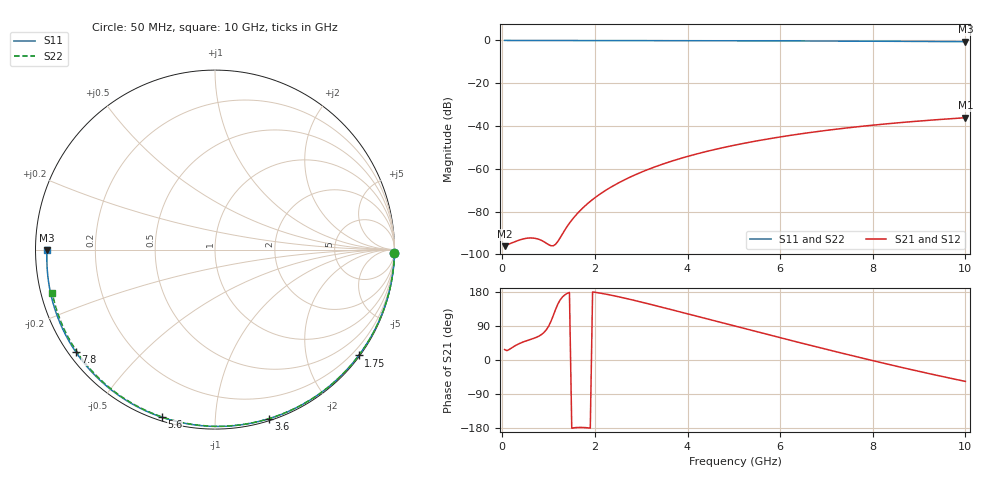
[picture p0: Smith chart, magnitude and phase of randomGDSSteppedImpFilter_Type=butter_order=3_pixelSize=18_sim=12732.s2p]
! freq	dB(S11)	phase(S11)	dB(S12)	phase(S12)
!  dB(S21)	phase(S21)	dB(S22)	phase(S22)
!S-par simulation data
#  GHz  S  DB  R 50
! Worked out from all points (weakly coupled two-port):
!   200 points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, 50 MHz to 10 GHz, reference 50 ohm
!   highest |S21| = -36.12 dB at 10 GHz (marker M1); lowest = -96.2 dB at 50 MHz (marker M2)
!   lowest |S11| = -0.6 dB at 10 GHz (marker M3), VSWR 30.14, Z = 1.66 - j0.108 ohm
!   |S11| at or under -10 dB: nowhere
!   |S22| runs from -0.6 to 0.0 dB; largest |S21 - S12| = 0
!   S11 on the Smith chart (normalised r, x): 50 MHz: open; 1.75 GHz: 0.03, -3.04; 3.6 GHz: 0.02, -1.37; 5.6 GHz: 0.02, -0.73; 7.8 GHz: 0.02, -0.33; 10 GHz: 0.03, -0.00
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0.05  -0.00 -1.1  -96.19 27.5  -96.19 27.5  -0.00 -1.0
0.4  -0.01 -8.5  -93.11 45.1  -93.11 45.1  -0.01 -7.7
0.8  -0.02 -16.8  -93.06 63.7  -93.06 63.7  -0.02 -15.2
1.2  -0.03 -25.1  -93.96 147.6  -93.96 147.6  -0.03 -22.8
1.65  -0.04 -34.3  -80.24 -177.9  -80.24 -177.9  -0.04 -31.1
1.75  -0.05 -36.4  -78.08 -178.1  -78.08 -178.1  -0.04 -33.0
2.05  -0.05 -42.4  -72.75 177.8  -72.75 177.8  -0.05 -38.5
2.25  -0.06 -46.4  -69.85 173.5  -69.85 173.5  -0.05 -42.1
2.45  -0.06 -50.3  -67.31 168.5  -67.31 168.5  -0.06 -45.7
2.9  -0.08 -59.1  -62.53 155.9  -62.53 155.9  -0.07 -53.7
3.4  -0.09 -68.6  -58.30 140.7  -58.30 140.7  -0.08 -62.4
3.6  -0.10 -72.3  -56.84 134.4  -56.84 134.4  -0.09 -65.9
4.3  -0.12 -85.0  -52.50 112.2  -52.50 112.2  -0.11 -77.6
5.05  -0.15 -98.2  -48.81 88.5  -48.81 88.5  -0.14 -89.8
5.6  -0.18 -107.6  -46.57 71.2  -46.57 71.2  -0.16 -98.5
6.15  -0.21 -116.8  -44.61 54.1  -44.61 54.1  -0.19 -107.1
6.7  -0.24 -125.8  -42.89 37.2  -42.89 37.2  -0.22 -115.4
7.25  -0.28 -134.7  -41.38 20.6  -41.38 20.6  -0.26 -123.7
7.8  -0.33 -143.5  -40.05 4.2  -40.05 4.2  -0.31 -131.9
8.35  -0.38 -152.4  -38.88 -11.8  -38.88 -11.8  -0.36 -140.1
9.2  -0.47 -166.3  -37.35 -35.5  -37.35 -35.5  -0.45 -152.8
10  -0.58 -179.8  -36.12 -56.5  -36.12 -56.5  -0.55 -165.0
